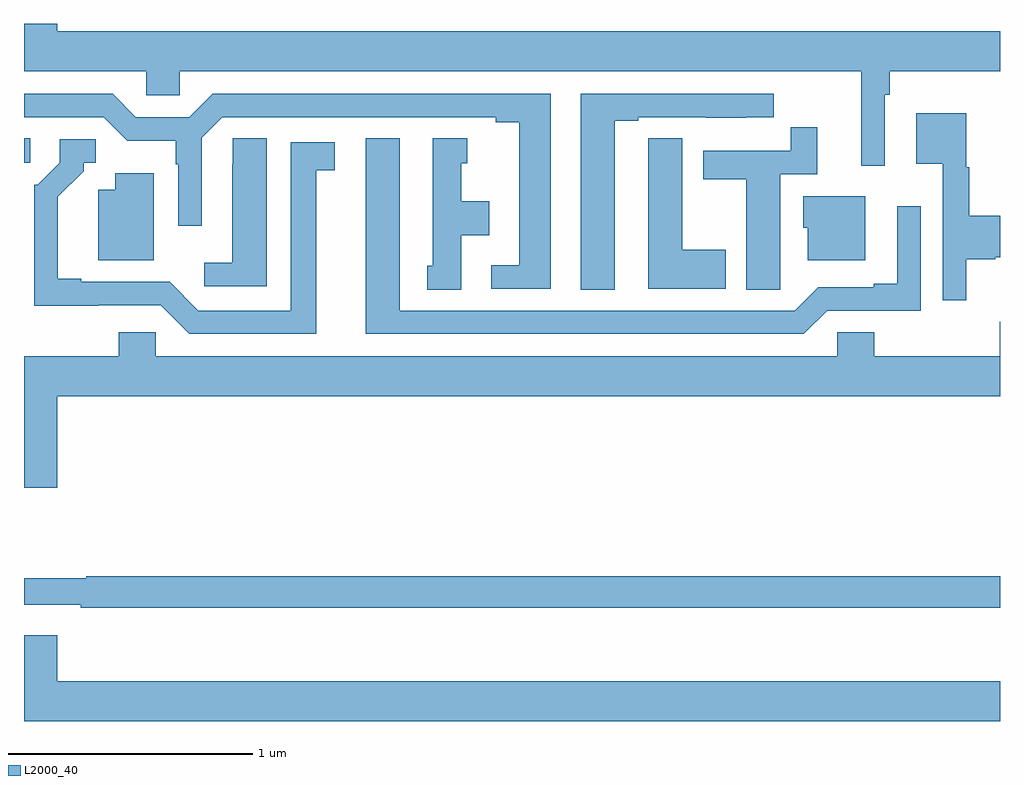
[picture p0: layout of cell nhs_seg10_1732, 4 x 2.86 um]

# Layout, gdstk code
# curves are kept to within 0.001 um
import gdstk
lib = gdstk.Library(unit=1e-6, precision=1e-09)
def R(c, l, rs):  # rectangles x0, y0, x1, y1
    for r in rs: c.add(gdstk.rectangle(r[:2], r[2:], *l))
def P(c, l, *ps):  # polygons
    for p in ps: c.add(gdstk.Polygon(p, *l))
L2000_40 = (2000, 40)

nhs_seg10_1732 = lib.new_cell('nhs_seg10_1732')
R(nhs_seg10_1732, L2000_40, [(201,1311.93,201.025,1312.031)])
P(nhs_seg10_1732, L2000_40, [(204.528,1312.208),(204.548,1312.208),(204.548,1312.304),(205,1312.304),(205,1312.468),(201.136,1312.468),(201.136,1312.5),(201,1312.5),(201,1312.304),(201.501,1312.304),(201.501,1312.206),(201.639,1312.206),(201.639,1312.304),(204.431,1312.304),(204.431,1311.918),(204.528,1311.918)],
  [(203.158,1312.212),(201.773,1312.212),(201.677,1312.116),(201.459,1312.116),(201.363,1312.212),(201,1312.212),(201,1312.116),(201.327,1312.116),(201.424,1312.019),(201.621,1312.019),(201.621,1311.923),(201.633,1311.923),(201.633,1311.672),(201.729,1311.672),(201.729,1312.032),(201.813,1312.116),(202.934,1312.116),(202.934,1312.096),(203.03,1312.096),(203.03,1311.51),(202.914,1311.51),(202.914,1311.414),(203.158,1311.414)],
  [(203.422,1312.101),(203.518,1312.101),(203.518,1312.116),(203.794,1312.116),(203.794,1312.115),(203.96,1312.115),(203.96,1312.116),(204.073,1312.116),(204.073,1312.212),(203.282,1312.212),(203.282,1311.409),(203.422,1311.409)],
  [(204.862,1311.535),(204.981,1311.535),(204.981,1311.542),(205,1311.542),(205,1311.713),(204.874,1311.713),(204.874,1311.912),(204.862,1311.912),(204.862,1312.132),(204.656,1312.132),(204.656,1311.926),(204.765,1311.926),(204.765,1311.366),(204.862,1311.366)],
  [(204.099,1311.52),(204.1,1311.52),(204.1,1311.882),(204.251,1311.882),(204.251,1312.075),(204.142,1312.075),(204.142,1311.978),(203.783,1311.978),(203.783,1311.862),(203.96,1311.862),(203.96,1311.409),(204.099,1311.409)],
  [(201.994,1312.031),(201.855,1312.031),(201.855,1311.923),(201.854,1311.923),(201.854,1311.52),(201.738,1311.52),(201.738,1311.423),(201.994,1311.423)],
  [(203.875,1311.573),(203.698,1311.573),(203.698,1312.031),(203.559,1312.031),(203.559,1311.923),(203.558,1311.923),(203.558,1311.413),(203.875,1311.413)],
  [(202.792,1311.632),(202.906,1311.632),(202.906,1311.772),(202.792,1311.772),(202.792,1311.927),(202.816,1311.927),(202.816,1312.03),(202.676,1312.03),(202.676,1311.507),(202.652,1311.507),(202.652,1311.409),(202.792,1311.409)],
  [(204.291,1311.324),(204.675,1311.324),(204.675,1311.751),(204.578,1311.751),(204.578,1311.433),(204.482,1311.433),(204.482,1311.42),(204.255,1311.42),(204.159,1311.324),(202.54,1311.324),(202.54,1312.03),(202.4,1312.03),(202.4,1311.228),(204.195,1311.228)],
  [(202.198,1311.898),(202.273,1311.898),(202.273,1312.014),(202.094,1312.014),(202.094,1311.324),(201.714,1311.324),(201.597,1311.441),(201.235,1311.441),(201.235,1311.454),(201.139,1311.454),(201.139,1311.79),(201.244,1311.895),(201.244,1311.93),(201.295,1311.93),(201.295,1312.026),(201.147,1312.026),(201.147,1311.93),(201.057,1311.84),(201.042,1311.84),(201.042,1311.344),(201.561,1311.345),(201.678,1311.228),(202.198,1311.228)],
  [(201.532,1311.886),(201.374,1311.886),(201.374,1311.82),(201.305,1311.82),(201.305,1311.53),(201.532,1311.53)],
  [(204.448,1311.793),(204.194,1311.793),(204.194,1311.663),(204.212,1311.663),(204.212,1311.53),(204.448,1311.53)],
  [(201.136,1310.972),(205,1310.972),(205,1311.278),(204.998,1311.278),(204.998,1311.136),(204.485,1311.136),(204.485,1311.234),(204.333,1311.234),(204.333,1311.136),(201.54,1311.136),(201.54,1311.234),(201.389,1311.234),(201.389,1311.136),(201,1311.136),(201,1310.598),(201.136,1310.598)],
  [(205,1310.234),(201.255,1310.234),(201.255,1310.227),(201,1310.227),(201,1310.118),(201.232,1310.118),(201.232,1310.106),(205,1310.106)],
  [(205,1309.804),(201.136,1309.804),(201.136,1309.993),(201,1309.993),(201,1309.64),(205,1309.64)])

lib.write_gds('nhs_seg10_1732.gds')
